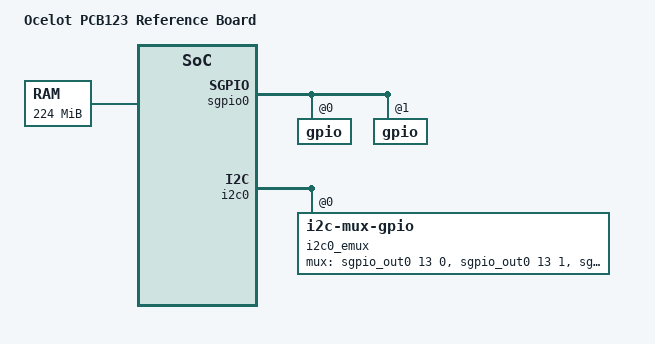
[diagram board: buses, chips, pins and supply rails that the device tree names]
// SPDX-License-Identifier: (GPL-2.0 OR MIT)
/* Copyright (c) 2017 Microsemi Corporation */

/dts-v1/;

#include "ocelot_common.dtsi"

/ {
	model = "Ocelot PCB123 Reference Board";
	compatible = "mscc,ocelot-pcb123", "mscc,ocelot";

	aliases {
	    i2c0   = &i2c0;
	    i2c201 = &i2c0;
	    i2c104 = &i2c104;
	    i2c105 = &i2c105;
	    i2c106 = &i2c106;
	    i2c107 = &i2c107;
	    i2c108 = &i2c108;
	    i2c109 = &i2c109;
	    i2c110 = &i2c110;
	    i2c111 = &i2c111;
	};

	memory@0 {
		device_type = "memory";
		reg = <0x0 0x0e000000>;
	};
};

&sgpio0 {
	status = "okay";
	microchip,sgpio-port-ranges = <0 24>;
	gpio@0 {
		ngpios = <64>;
	};
	gpio@1 {
		ngpios = <64>;
	};
};

&ahb {
	i2c0_emux: i2c0-emux@0 {
		compatible = "i2c-mux-gpio";
		#address-cells = <1>;
		#size-cells = <0>;
		select-delay = <8000>; // delay 8ms due to shift register
		i2c-parent = <&i2c0>;
		mux-gpios = <&sgpio_out0 13 0 GPIO_ACTIVE_HIGH>, // p13b0
			    <&sgpio_out0 13 1 GPIO_ACTIVE_HIGH>, // p13b1
			    <&sgpio_out0 14 0 GPIO_ACTIVE_HIGH>; // p14b0
		i2c104: i2c_sfp1 {
			reg = <0>;
			#address-cells = <1>;
			#size-cells = <0>;
		};
		i2c105: i2c_sfp2 {
			reg = <1>;
			#address-cells = <1>;
			#size-cells = <0>;
		};
		i2c106: i2c_sfp3 {
			reg = <2>;
			#address-cells = <1>;
			#size-cells = <0>;
		};
		i2c107: i2c_sfp4 {
			reg = <3>;
			#address-cells = <1>;
			#size-cells = <0>;
		};
		i2c108: i2c_sfp5 {
			reg = <4>;
			#address-cells = <1>;
			#size-cells = <0>;
		};
		i2c109: i2c_sfp6 {
			reg = <5>;
			#address-cells = <1>;
			#size-cells = <0>;
		};
		i2c110: i2c_sfp7 {
			reg = <6>;
			#address-cells = <1>;
			#size-cells = <0>;
		};
		i2c111: i2c_sfp8 {
			reg = <7>;
			#address-cells = <1>;
			#size-cells = <0>;
		};
	};
};

&port0 {
	status = "okay";
	phy-handle = <&phy0>;
	phy-mode = "internal";
};

&port1 {
	status = "okay";
	phy-handle = <&phy1>;
	phy-mode = "internal";
};

&port2 {
	status = "okay";
	phy-handle = <&phy2>;
	phy-mode = "internal";
};

&port3 {
	status = "okay";
	phy-handle = <&phy3>;
	phy-mode = "internal";
};
